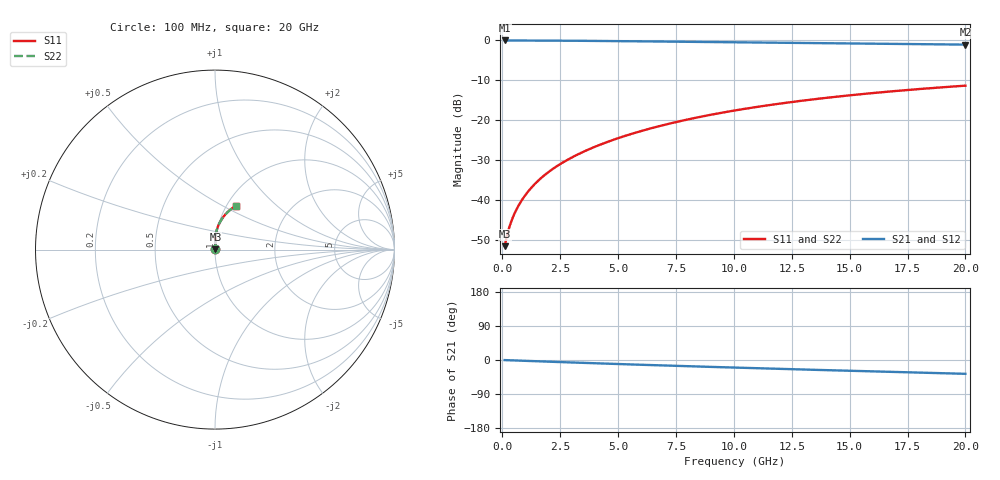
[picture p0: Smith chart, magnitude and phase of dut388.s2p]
! Touchstone file exported from HFSS 2024.1.0
!  File:  C:/UserFiles/LocalFiles/RDL_TSV_Batchsim/temp_RDL_bottom_388_1779614182.aedt
!  Generated:  05:19:06 PM May 24, 2026
!  Design:  RDL_bottom
!  Project:  temp_RDL_bottom_388_1779614182
!  Setup:  Setup1
!  Solution:  Sweep
! Variables:
!  dtsv = 10.80580581um
!  hbump = 3um
!  htsv = 75.62um
!  ldown = 572.38um
!  lrdl = 100um
!  p = 40
!  p1 = 42.93um
!  rhole = 1um
!  t = 450um
!  tdown = 4.05um
!  trdl = 3.915915916um
!  wdown = 24.76um
!  wrdl = 20um
# GHz S MA R 50.000000
! Terminal data exported
! Port[1] = RDL1_T1
! Port[2] = RDL1_T2
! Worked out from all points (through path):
!   200 points, 100 MHz to 20 GHz, reference 50 ohm
!   highest |S21| = -0.02 dB at 100 MHz (marker M1); lowest = -1.1 dB at 20 GHz (marker M2)
!   group delay of S21, straight-line fit = 5 ps
!   lowest |S11| = -51.7 dB at 100 MHz (marker M3), VSWR 1.01, Z = 50.2 + j0.134 ohm
!   |S11| at or under -10 dB: start of sweep to end of sweep
!   |S22| runs from -51.7 to -11.4 dB; largest |S21 - S12| = 5.2e-15
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0.1  0.002612 30.8  0.9977 -0.2  0.9977 -0.2  0.002612 30.8
! Gamma 0 0 0 0
! Port Impedance 50 0 50 0
0.2  0.00352 46.7  0.9975 -0.5  0.9975 -0.5  0.00352 46.7
0.3  0.004495 55.1  0.9973 -0.7  0.9973 -0.7  0.004495 55.1
0.4  0.005465 60.6  0.9971 -0.9  0.9971 -0.9  0.005465 60.6
0.5  0.006436 64.6  0.997 -1.1  0.997 -1.1  0.006436 64.6
0.6  0.007417 67.8  0.9968 -1.3  0.9968 -1.3  0.007417 67.8
0.8  0.00942 72.5  0.9965 -1.8  0.9965 -1.8  0.00942 72.5
1  0.01148 75.8  0.9962 -2.2  0.9962 -2.2  0.01148 75.8
1.2  0.01358 78.2  0.9958 -2.7  0.9958 -2.7  0.01358 78.2
1.7  0.01898 82.1  0.9945 -3.7  0.9945 -3.7  0.01898 82.1
2.2  0.02457 84.4  0.9929 -4.8  0.9929 -4.8  0.02457 84.4
2.8  0.03151 86.1  0.9906 -6.1  0.9906 -6.1  0.03151 86.1
3.5  0.03994 87.3  0.9873 -7.6  0.9873 -7.6  0.03994 87.2
4.2  0.04873 87.8  0.9836 -9.0  0.9836 -9.0  0.04873 87.8
5  0.0592 88.0  0.9789 -10.6  0.9789 -10.6  0.05919 88.0
6.8  0.08417 87.0  0.9675 -14.1  0.9675 -14.1  0.08416 86.9
8.4  0.1075 85.1  0.9569 -17.1  0.9569 -17.1  0.1075 85.0
10.1  0.1328 82.4  0.9458 -20.1  0.9458 -20.1  0.1328 82.4
11.7  0.1566 79.6  0.9355 -22.9  0.9355 -22.9  0.1566 79.6
13.4  0.1815 76.5  0.9247 -25.8  0.9247 -25.8  0.1814 76.5
16.7  0.2277 70.4  0.9045 -31.2  0.9045 -31.2  0.2276 70.4
20  0.2702 64.5  0.8848 -36.4  0.8848 -36.4  0.2701 64.5
